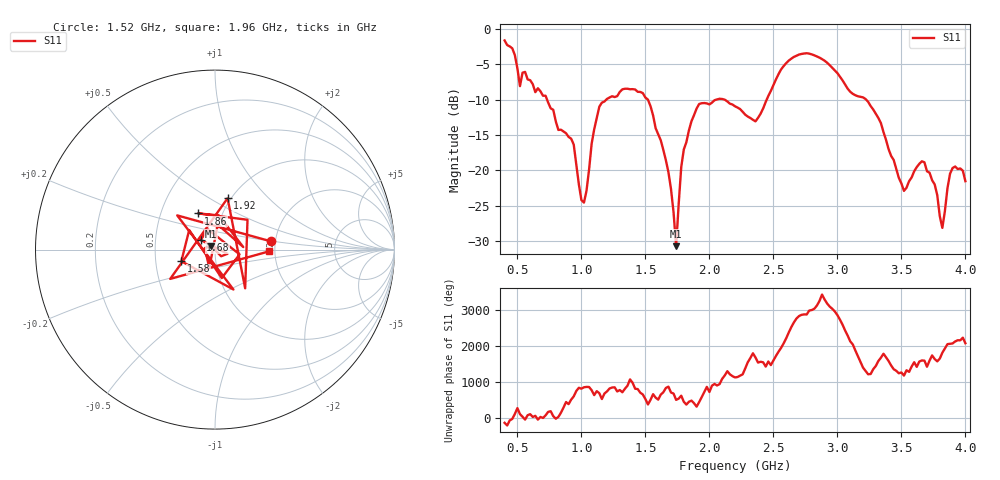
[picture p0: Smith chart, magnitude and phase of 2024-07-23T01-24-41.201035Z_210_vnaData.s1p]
!Created with skrf (http://scikit-rf.org).
# Hz S RI R 50.0
!freq ReS11 ImS11
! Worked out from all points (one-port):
!   181 points, 400 MHz to 4 GHz, reference 50 ohm
!   lowest |S11| = -30.7 dB at 1.74 GHz (marker M1), VSWR 1.06, Z = 47.9 + j1.93 ohm
!   |S11| at or under -10 dB: 731.7 MHz to 1.194 GHz (462.6 MHz wide, 48 % of centre); 1.52 GHz to 2.054 GHz (533.9 MHz wide, 29.9 % of centre); 3.224 GHz to end of sweep (the widest 3 of 4)
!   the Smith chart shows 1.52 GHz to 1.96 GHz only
!   S11 on the Smith chart (normalised r, x): 1.52 GHz: 1.90, +0.19; 1.58 GHz: 0.68, -0.09; 1.68 GHz: 0.85, +0.09; 1.86 GHz: 0.77, +0.33; 1.92 GHz: 0.96, +0.60; 1.96 GHz: 1.85, -0.04
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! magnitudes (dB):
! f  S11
! 400 MHz  -1.6
! 520 MHz  -8.1
! 560 MHz  -6.1
! 860 MHz  -14.5
! 940 MHz  -16.4
! 1.02 GHz  -24.6
! 1.14 GHz  -11.0
! 1.3 GHz  -8.9
! 1.52 GHz  -10.0
! 1.58 GHz  -14.0
! 1.68 GHz  -20.3
! 1.74 GHz  -30.7
! 1.76 GHz  -24.8
! 1.8 GHz  -17.1
! 1.86 GHz  -13.0
! 1.92 GHz  -10.6
! 1.96 GHz  -10.5
! 2.2 GHz  -10.9
! 2.36 GHz  -13.1
! 2.66 GHz  -4.0
! 3.1 GHz  -8.9
! 3.32 GHz  -12.6
! 3.52 GHz  -22.9
! 3.56 GHz  -21.5
! 3.68 GHz  -18.9
! 3.82 GHz  -28.1
! 3.9 GHz  -19.7
! 4 GHz  -21.5
